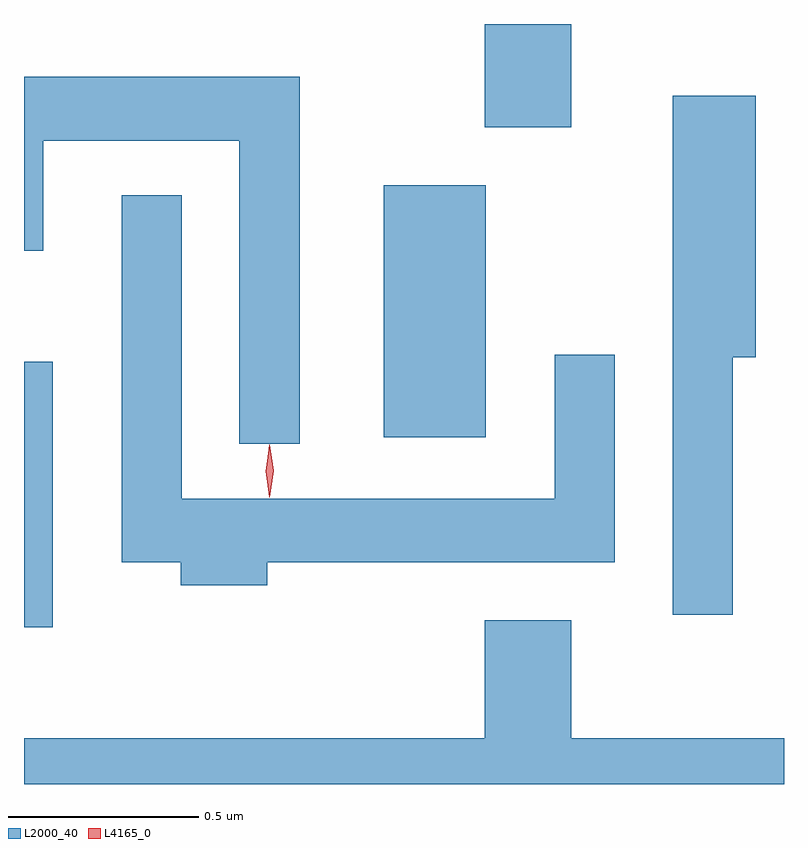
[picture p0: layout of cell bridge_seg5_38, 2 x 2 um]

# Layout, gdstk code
import gdstk
lib = gdstk.Library(unit=1e-6, precision=1e-09)
def R(c, l, rs):  # rectangles x0, y0, x1, y1
    for r in rs: c.add(gdstk.rectangle(r[:2], r[2:], *l))
def P(c, l, *ps):  # polygons
    for p in ps: c.add(gdstk.Polygon(p, *l))
L2000_40 = (2000, 40)
L4165_0 = (4165, 0)

bridge_seg5_38 = lib.new_cell('bridge_seg5_38')
R(bridge_seg5_38, L2000_40, [(1323.199,1464.016,1323.274,1464.714), (1324.146,1464.516,1324.414,1465.179), (1324.411,1465.331,1324.639,1465.603)])
P(bridge_seg5_38, L2000_40, [(1323.924,1465.464),(1323.199,1465.464),(1323.199,1465.006),(1323.249,1465.006),(1323.249,1465.296),(1323.766,1465.296),(1323.766,1464.498),(1323.924,1464.498)],
  [(1325.064,1464.726),(1325.124,1464.726),(1325.124,1465.414),(1324.906,1465.414),(1324.906,1464.048),(1325.064,1464.048)],
  [(1323.839,1464.186),(1324.754,1464.186),(1324.754,1464.733),(1324.596,1464.733),(1324.596,1464.354),(1323.614,1464.354),(1323.614,1465.153),(1323.456,1465.153),(1323.456,1464.186),(1323.611,1464.186),(1323.611,1464.126),(1323.839,1464.126)],
  [(1325.199,1463.724),(1324.639,1463.724),(1324.639,1464.034),(1324.411,1464.034),(1324.411,1463.724),(1323.199,1463.724),(1323.199,1463.603),(1325.199,1463.603)])
P(bridge_seg5_38, L4165_0, [(1323.846,1464.357),(1323.845,1464.358),(1323.836,1464.427),(1323.845,1464.496),(1323.846,1464.496),(1323.846,1464.496),(1323.856,1464.427),(1323.846,1464.358)],
  [(1323.844,1464.359),(1323.844,1464.36),(1323.835,1464.426),(1323.844,1464.492),(1323.845,1464.493),(1323.845,1464.492),(1323.854,1464.426),(1323.845,1464.36)])

lib.write_gds('bridge_seg5_38.gds')
